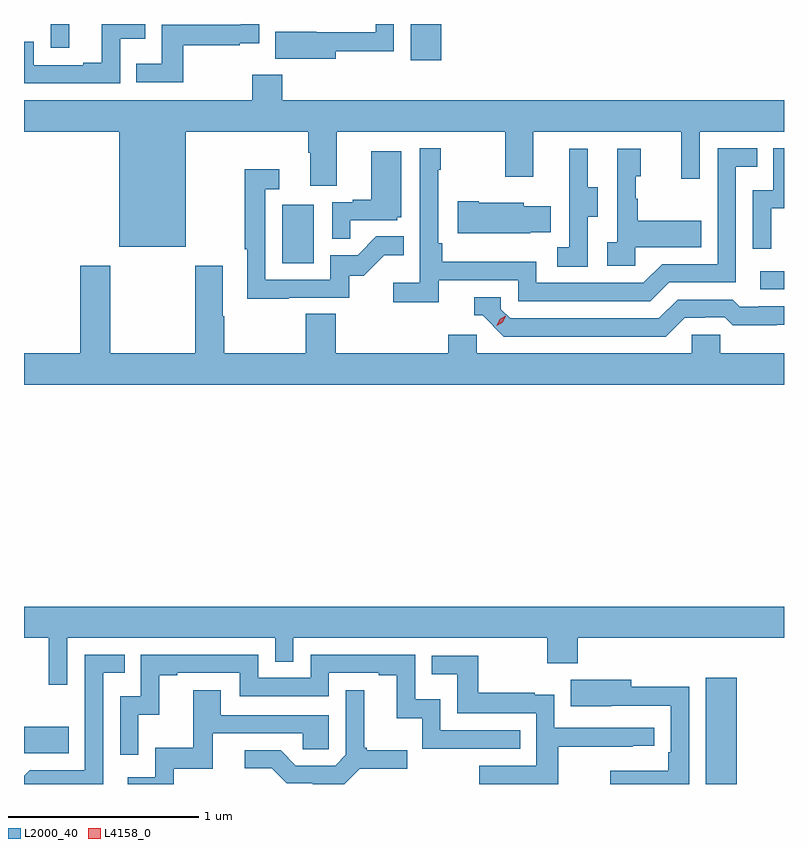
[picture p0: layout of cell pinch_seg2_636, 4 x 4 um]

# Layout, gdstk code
import gdstk
lib = gdstk.Library(unit=1e-6, precision=1e-09)
def R(c, l, rs):  # rectangles x0, y0, x1, y1
    for r in rs: c.add(gdstk.rectangle(r[:2], r[2:], *l))
def P(c, l, *ps):  # polygons
    for p in ps: c.add(gdstk.Polygon(p, *l))
L2000_40 = (2000, 40)
L4158_0 = (4158, 0)

pinch_seg2_636 = lib.new_cell('pinch_seg2_636')
R(pinch_seg2_636, L2000_40, [(1048.223,600.246,1048.384,600.805), (1044.634,600.407,1044.869,600.547), (1048.509,602.85,1048.634,602.946), (1045.994,602.988,1046.158,603.295), (1046.669,604.056,1046.83,604.246), (1044.774,604.122,1044.871,604.246)])
P(pinch_seg2_636, L2000_40, [(1046.275,604.102),(1046.58,604.102),(1046.58,604.246),(1046.484,604.246),(1046.484,604.203),(1046.171,604.203),(1046.171,604.204),(1045.957,604.204),(1045.957,604.064),(1046.275,604.064)],
  [(1045.471,604.134),(1045.769,604.134),(1045.769,604.145),(1045.872,604.145),(1045.872,604.246),(1045.776,604.246),(1045.776,604.242),(1045.36,604.242),(1045.36,604.036),(1045.225,604.036),(1045.225,603.939),(1045.471,603.939)],
  [(1045.14,604.169),(1045.272,604.169),(1045.272,604.246),(1045.043,604.246),(1045.043,604.042),(1044.947,604.042),(1044.947,604.029),(1044.684,604.029),(1044.684,604.152),(1044.634,604.152),(1044.634,603.933),(1045.14,603.933)],
  [(1045.486,603.68),(1046.129,603.68),(1046.129,603.568),(1046.141,603.568),(1046.141,603.394),(1046.281,603.394),(1046.281,603.68),(1047.166,603.68),(1047.166,603.441),(1047.313,603.441),(1047.313,603.68),(1048.094,603.68),(1048.094,603.432),(1048.191,603.432),(1048.191,603.68),(1048.634,603.68),(1048.634,603.844),(1045.994,603.844),(1045.994,603.979),(1045.834,603.979),(1045.834,603.844),(1044.634,603.844),(1044.634,603.68),(1045.136,603.68),(1045.136,603.074),(1045.486,603.074)],
  [(1046.816,602.898),(1047.234,602.898),(1047.234,602.787),(1047.931,602.787),(1048.03,602.886),(1048.38,602.886),(1048.38,603.495),(1048.493,603.495),(1048.493,603.591),(1048.284,603.591),(1048.284,602.982),(1047.993,602.982),(1047.894,602.883),(1047.33,602.883),(1047.33,602.995),(1046.834,602.995),(1046.834,603.091),(1046.814,603.091),(1046.814,603.479),(1046.827,603.479),(1046.827,603.592),(1046.718,603.592),(1046.718,602.884),(1046.577,602.884),(1046.577,602.782),(1046.816,602.782)],
  [(1048.566,603.275),(1048.634,603.275),(1048.634,603.591),(1048.578,603.591),(1048.578,603.372),(1048.47,603.372),(1048.47,603.063),(1048.566,603.063)],
  [(1047.6,603.232),(1047.655,603.232),(1047.655,603.387),(1047.601,603.387),(1047.601,603.589),(1047.503,603.589),(1047.503,603.375),(1047.504,603.375),(1047.504,603.071),(1047.441,603.071),(1047.441,602.968),(1047.6,602.968)],
  [(1047.852,603.071),(1048.199,603.071),(1048.199,603.211),(1047.865,603.211),(1047.865,603.326),(1047.855,603.326),(1047.855,603.444),(1047.88,603.444),(1047.88,603.589),(1047.756,603.589),(1047.756,603.098),(1047.705,603.098),(1047.705,602.973),(1047.852,602.973)],
  [(1046.351,603.213),(1046.598,603.213),(1046.598,603.228),(1046.62,603.228),(1046.62,603.577),(1046.462,603.577),(1046.462,603.322),(1046.363,603.322),(1046.363,603.309),(1046.256,603.309),(1046.256,603.115),(1046.351,603.115)],
  [(1046.027,602.805),(1046.346,602.805),(1046.346,602.922),(1046.422,602.922),(1046.529,603.029),(1046.633,603.029),(1046.633,603.128),(1046.489,603.128),(1046.391,603.03),(1046.247,603.03),(1046.247,602.901),(1045.905,602.901),(1045.905,603.375),(1045.978,603.375),(1045.978,603.481),(1045.797,603.481),(1045.797,603.061),(1045.809,603.061),(1045.809,602.8),(1046.027,602.8)],
  [(1047.299,603.149),(1047.407,603.149),(1047.407,603.286),(1047.264,603.286),(1047.264,603.304),(1047.028,603.304),(1047.028,603.312),(1046.916,603.312),(1046.916,603.146),(1047.299,603.146)],
  [(1048.634,602.512),(1048.299,602.512),(1048.299,602.61),(1048.149,602.61),(1048.149,602.512),(1047.018,602.512),(1047.018,602.61),(1046.867,602.61),(1046.867,602.512),(1046.276,602.512),(1046.276,602.72),(1046.116,602.72),(1046.116,602.512),(1045.689,602.512),(1045.689,602.708),(1045.681,602.708),(1045.681,602.974),(1045.534,602.974),(1045.534,602.512),(1045.089,602.512),(1045.089,602.974),(1044.929,602.974),(1044.929,602.512),(1044.634,602.512),(1044.634,602.348),(1048.634,602.348)],
  [(1048.111,602.7),(1048.218,602.7),(1048.218,602.703),(1048.321,602.703),(1048.363,602.661),(1048.596,602.661),(1048.596,602.663),(1048.634,602.663),(1048.634,602.76),(1048.501,602.76),(1048.501,602.757),(1048.402,602.757),(1048.363,602.796),(1048.074,602.796),(1047.975,602.697),(1047.192,602.697),(1047.144,602.745),(1047.144,602.808),(1047.005,602.808),(1047.005,602.712),(1047.048,602.712),(1047.159,602.601),(1048.012,602.601)],
  [(1044.861,601.016),(1045.956,601.016),(1045.956,600.889),(1046.052,600.889),(1046.052,601.016),(1047.388,601.016),(1047.388,600.881),(1047.548,600.881),(1047.548,601.016),(1048.634,601.016),(1048.634,601.18),(1044.634,601.18),(1044.634,601.016),(1044.764,601.016),(1044.764,600.768),(1044.861,600.768)],
  [(1045.05,600.831),(1045.163,600.831),(1045.163,600.927),(1044.954,600.927),(1044.954,600.318),(1044.663,600.318),(1044.634,600.289),(1044.634,600.246),(1045.05,600.246)],
  [(1045.236,600.611),(1045.346,600.611),(1045.346,600.819),(1045.441,600.819),(1045.441,600.831),(1045.77,600.831),(1045.77,600.708),(1046.238,600.708),(1046.238,600.831),(1046.501,600.831),(1046.501,600.819),(1046.597,600.819),(1046.597,600.593),(1046.73,600.593),(1046.73,600.432),(1047.245,600.432),(1047.245,600.528),(1046.826,600.528),(1046.826,600.691),(1046.694,600.691),(1046.694,600.927),(1046.142,600.927),(1046.142,600.804),(1045.866,600.804),(1045.866,600.927),(1045.248,600.927),(1045.248,600.708),(1045.14,600.708),(1045.14,600.399),(1045.236,600.399)],
  [(1047.446,600.442),(1047.839,600.442),(1047.839,600.447),(1047.952,600.447),(1047.952,600.543),(1047.426,600.543),(1047.426,600.715),(1047.323,600.715),(1047.323,600.727),(1047.025,600.727),(1047.025,600.921),(1046.779,600.921),(1046.779,600.824),(1046.914,600.824),(1046.914,600.618),(1047.33,600.618),(1047.33,600.342),(1047.029,600.342),(1047.029,600.246),(1047.446,600.246)],
  [(1048.134,600.758),(1047.829,600.758),(1047.829,600.796),(1047.511,600.796),(1047.511,600.656),(1047.725,600.656),(1047.725,600.657),(1048.038,600.657),(1048.038,600.412),(1048.025,600.412),(1048.025,600.316),(1047.72,600.316),(1047.72,600.246),(1048.134,600.246)],
  [(1045.422,600.327),(1045.627,600.327),(1045.627,600.513),(1046.101,600.513),(1046.101,600.429),(1046.238,600.429),(1046.238,600.609),(1045.669,600.609),(1045.669,600.739),(1045.525,600.739),(1045.525,600.436),(1045.326,600.436),(1045.326,600.282),(1045.179,600.282),(1045.179,600.246),(1045.422,600.246)],
  [(1046.4,600.327),(1046.65,600.327),(1046.65,600.424),(1046.437,600.424),(1046.437,600.436),(1046.425,600.436),(1046.425,600.739),(1046.328,600.739),(1046.328,600.399),(1046.271,600.342),(1046.065,600.342),(1045.984,600.423),(1045.797,600.423),(1045.797,600.33),(1045.938,600.33),(1046.018,600.25),(1046.153,600.25),(1046.153,600.246),(1046.319,600.246)])
P(pinch_seg2_636, L4158_0, [(1047.121,602.658),(1047.121,602.659),(1047.138,602.691),(1047.169,602.71),(1047.169,602.71),(1047.169,602.71),(1047.153,602.677),(1047.122,602.658)])

lib.write_gds('pinch_seg2_636.gds')
